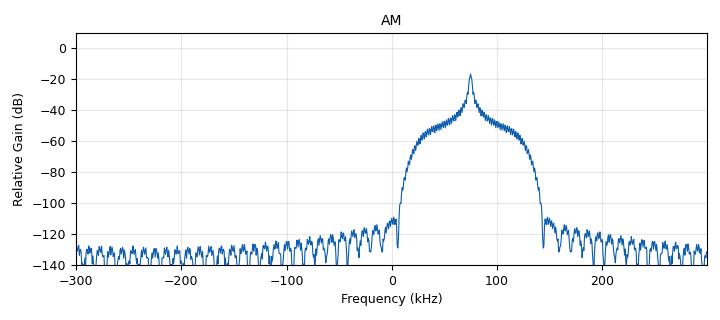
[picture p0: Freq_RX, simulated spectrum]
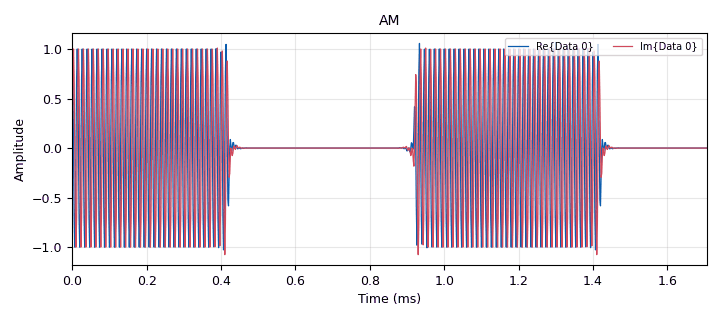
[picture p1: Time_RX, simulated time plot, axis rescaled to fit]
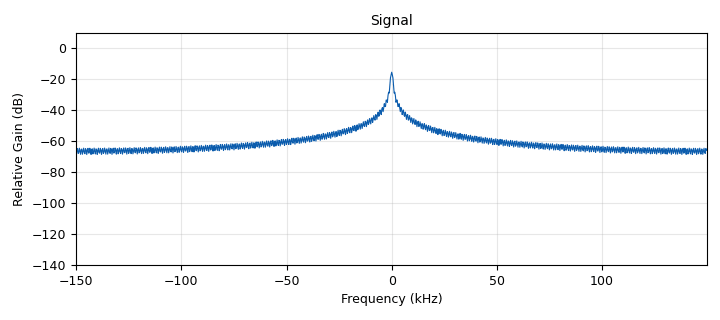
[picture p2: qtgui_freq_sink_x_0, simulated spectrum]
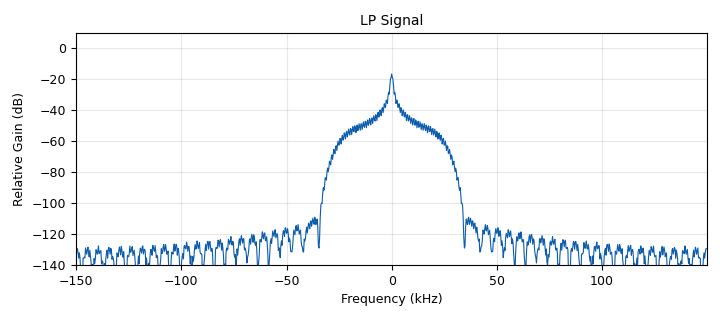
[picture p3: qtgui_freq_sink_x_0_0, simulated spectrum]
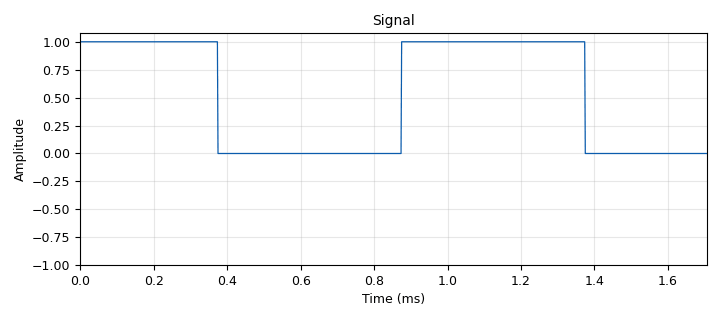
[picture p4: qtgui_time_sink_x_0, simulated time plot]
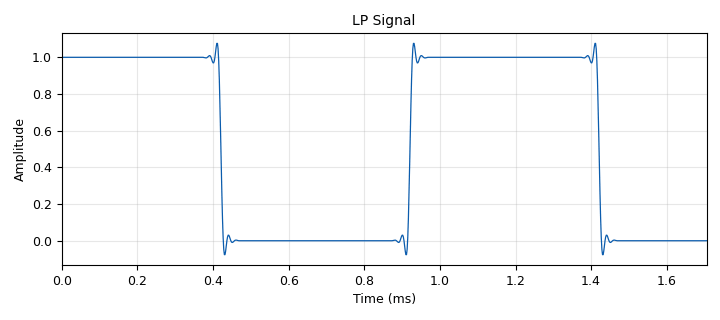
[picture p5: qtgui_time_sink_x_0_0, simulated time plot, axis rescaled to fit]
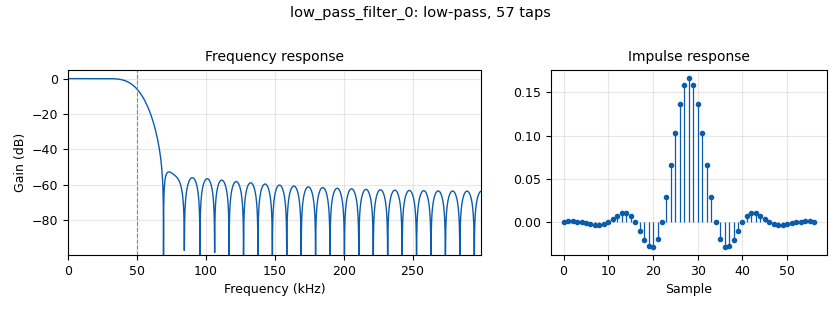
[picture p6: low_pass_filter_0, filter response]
<?xml version='1.0' encoding='utf-8'?>
<?grc format='1' created='3.7.10'?>
<flow_graph>
<block>
<key>options</key>
<param><key>id</key><value>top_block</value></param>
<param><key>category</key><value>Custom</value></param>
<param><key>generate_options</key><value>qt_gui</value></param>
</block>
<block>
<key>variable</key>
<param><key>id</key><value>USRP_samp_rate</value></param>
<param><key>value</key><value>600E3</value></param>
</block>
<block>
<key>variable_qtgui_range</key>
<param><key>id</key><value>fL</value></param>
<param><key>value</key><value>50E3</value></param>
<param><key>gui_hint</key><value>0,3,1,1</value></param>
<param><key>orient</key><value>Qt.Horizontal</value></param>
<param><key>start</key><value>1.5E3</value></param>
<param><key>step</key><value>1E3</value></param>
<param><key>stop</key><value>100E3</value></param>
</block>
<block>
<key>variable_qtgui_chooser</key>
<param><key>id</key><value>fc</value></param>
<param><key>value</key><value>3.625E9</value></param>
<param><key>gui_hint</key><value>0,1,1,1</value></param>
<param><key>label0</key><value>In Band</value></param>
<param><key>label1</key><value>Out of band, lower</value></param>
<param><key>label2</key><value>OUt of band, higher</value></param>
<param><key>label3</key><value>Way out</value></param>
<param><key>num_opts</key><value>4</value></param>
<param><key>option0</key><value>3.625E9</value></param>
<param><key>option1</key><value>3.45E9</value></param>
<param><key>option2</key><value>3.80E9</value></param>
<param><key>option3</key><value>3.49E9</value></param>
<param><key>type</key><value>real</value></param>
</block>
<block>
<key>variable</key>
<param><key>id</key><value>fc</value></param>
<param><key>_enabled</key><value>0</value></param>
<param><key>value</key><value>3.625E9</value></param>
</block>
<block>
<key>variable</key>
<param><key>id</key><value>fm</value></param>
<param><key>value</key><value>1000</value></param>
</block>
<block>
<key>variable</key>
<param><key>id</key><value>ft</value></param>
<param><key>value</key><value>75E3</value></param>
</block>
<block>
<key>variable_qtgui_range</key>
<param><key>id</key><value>gain</value></param>
<param><key>value</key><value>0</value></param>
<param><key>gui_hint</key><value>0,0,1,1</value></param>
<param><key>orient</key><value>Qt.Horizontal</value></param>
<param><key>start</key><value>0</value></param>
<param><key>step</key><value>1</value></param>
<param><key>stop</key><value>30</value></param>
</block>
<block>
<key>variable</key>
<param><key>id</key><value>samp_rate</value></param>
<param><key>value</key><value>600E3</value></param>
</block>
<block>
<key>variable_qtgui_chooser</key>
<param><key>id</key><value>sig</value></param>
<param><key>value</key><value>103</value></param>
<param><key>gui_hint</key><value>0,2,1,1</value></param>
<param><key>label0</key><value>Cosine</value></param>
<param><key>label1</key><value>Rectangle</value></param>
<param><key>num_opts</key><value>2</value></param>
<param><key>option0</key><value>102</value></param>
<param><key>option1</key><value>103</value></param>
<param><key>type</key><value>int</value></param>
</block>
<block>
<key>qtgui_freq_sink_x</key>
<param><key>id</key><value>Freq_RX</value></param>
<param><key>bw</key><value>samp_rate</value></param>
<param><key>fc</key><value>0</value></param>
<param><key>fftsize</key><value>1024</value></param>
<param><key>gui_hint</key><value>4,2,1,2</value></param>
<param><key>name</key><value>"AM"</value></param>
<param><key>showports</key><value>True</value></param>
<param><key>type</key><value>complex</value></param>
<param><key>wintype</key><value>firdes.WIN_BLACKMAN_hARRIS</value></param>
</block>
<block>
<key>qtgui_time_sink_x</key>
<param><key>id</key><value>Time_RX</value></param>
<param><key>gui_hint</key><value>4,0,1,2</value></param>
<param><key>color1</key><value>"blue"</value></param>
<param><key>label1</key><value></value></param>
<param><key>color2</key><value>"red"</value></param>
<param><key>label2</key><value></value></param>
<param><key>name</key><value>"AM"</value></param>
<param><key>size</key><value>1024</value></param>
<param><key>srate</key><value>samp_rate</value></param>
<param><key>type</key><value>complex</value></param>
</block>
<block>
<key>analog_sig_source_x</key>
<param><key>id</key><value>analog_sig_source_x_0_0</value></param>
<param><key>amp</key><value>1</value></param>
<param><key>freq</key><value>fm</value></param>
<param><key>offset</key><value>0</value></param>
<param><key>type</key><value>float</value></param>
<param><key>samp_rate</key><value>samp_rate</value></param>
<param><key>waveform</key><value>sig</value></param>
</block>
<block>
<key>analog_sig_source_x</key>
<param><key>id</key><value>analog_sig_source_x_1</value></param>
<param><key>amp</key><value>1</value></param>
<param><key>freq</key><value>ft</value></param>
<param><key>offset</key><value>0</value></param>
<param><key>type</key><value>complex</value></param>
<param><key>samp_rate</key><value>samp_rate</value></param>
<param><key>waveform</key><value>analog.GR_COS_WAVE</value></param>
</block>
<block>
<key>blocks_float_to_complex</key>
<param><key>id</key><value>blocks_float_to_complex_0</value></param>
</block>
<block>
<key>blocks_multiply_xx</key>
<param><key>id</key><value>blocks_multiply_xx_0_0</value></param>
<param><key>type</key><value>complex</value></param>
</block>
<block>
<key>low_pass_filter</key>
<param><key>id</key><value>low_pass_filter_0</value></param>
<param><key>cutoff_freq</key><value>fL</value></param>
<param><key>type</key><value>interp_fir_filter_fff</value></param>
<param><key>gain</key><value>1</value></param>
<param><key>interp</key><value>1</value></param>
<param><key>samp_rate</key><value>samp_rate</value></param>
<param><key>width</key><value>fL/2</value></param>
<param><key>win</key><value>firdes.WIN_HAMMING</value></param>
</block>
<block>
<key>qtgui_freq_sink_x</key>
<param><key>id</key><value>qtgui_freq_sink_x_0</value></param>
<param><key>bw</key><value>samp_rate/2</value></param>
<param><key>fc</key><value>0</value></param>
<param><key>fftsize</key><value>1024</value></param>
<param><key>gui_hint</key><value>1,2,1,2</value></param>
<param><key>name</key><value>"Signal"</value></param>
<param><key>showports</key><value>True</value></param>
<param><key>type</key><value>float</value></param>
<param><key>wintype</key><value>firdes.WIN_BLACKMAN_hARRIS</value></param>
</block>
<block>
<key>qtgui_freq_sink_x</key>
<param><key>id</key><value>qtgui_freq_sink_x_0_0</value></param>
<param><key>bw</key><value>samp_rate/2</value></param>
<param><key>fc</key><value>0</value></param>
<param><key>fftsize</key><value>1024</value></param>
<param><key>gui_hint</key><value>2,2,1,2</value></param>
<param><key>name</key><value>"LP Signal"</value></param>
<param><key>showports</key><value>True</value></param>
<param><key>type</key><value>float</value></param>
<param><key>wintype</key><value>firdes.WIN_BLACKMAN_hARRIS</value></param>
</block>
<block>
<key>qtgui_time_sink_x</key>
<param><key>id</key><value>qtgui_time_sink_x_0</value></param>
<param><key>gui_hint</key><value>1,0,1,2</value></param>
<param><key>color1</key><value>"blue"</value></param>
<param><key>label1</key><value></value></param>
<param><key>name</key><value>"Signal"</value></param>
<param><key>size</key><value>1024</value></param>
<param><key>srate</key><value>samp_rate</value></param>
<param><key>type</key><value>float</value></param>
</block>
<block>
<key>qtgui_time_sink_x</key>
<param><key>id</key><value>qtgui_time_sink_x_0_0</value></param>
<param><key>gui_hint</key><value>2,0,1,2</value></param>
<param><key>color1</key><value>"blue"</value></param>
<param><key>label1</key><value></value></param>
<param><key>name</key><value>"LP Signal"</value></param>
<param><key>size</key><value>1024</value></param>
<param><key>srate</key><value>samp_rate</value></param>
<param><key>type</key><value>float</value></param>
</block>
<block>
<key>uhd_usrp_sink</key>
<param><key>id</key><value>uhd_usrp_sink_0</value></param>
<param><key>ant0</key><value>TX/RX</value></param>
<param><key>center_freq0</key><value>fc</value></param>
<param><key>norm_gain0</key><value>False</value></param>
<param><key>gain0</key><value>gain</value></param>
<param><key>clock_rate</key><value>0.0</value></param>
<param><key>dev_args</key><value>""</value></param>
<param><key>type</key><value>fc32</value></param>
<param><key>samp_rate</key><value>USRP_samp_rate</value></param>
<param><key>hide_cmd_port</key><value>False</value></param>
<param><key>hide_lo_controls</key><value>False</value></param>
<param><key>sync</key><value></value></param>
<param><key>len_tag_name</key><value></value></param>
</block>
<connection><source_block_id>analog_sig_source_x_0_0</source_block_id><sink_block_id>low_pass_filter_0</sink_block_id><source_key>0</source_key><sink_key>0</sink_key></connection>
<connection><source_block_id>analog_sig_source_x_0_0</source_block_id><sink_block_id>qtgui_freq_sink_x_0</sink_block_id><source_key>0</source_key><sink_key>0</sink_key></connection>
<connection><source_block_id>analog_sig_source_x_0_0</source_block_id><sink_block_id>qtgui_time_sink_x_0</sink_block_id><source_key>0</source_key><sink_key>0</sink_key></connection>
<connection><source_block_id>analog_sig_source_x_1</source_block_id><sink_block_id>blocks_multiply_xx_0_0</sink_block_id><source_key>0</source_key><sink_key>1</sink_key></connection>
<connection><source_block_id>blocks_float_to_complex_0</source_block_id><sink_block_id>blocks_multiply_xx_0_0</sink_block_id><source_key>0</source_key><sink_key>0</sink_key></connection>
<connection><source_block_id>blocks_float_to_complex_0</source_block_id><sink_block_id>uhd_usrp_sink_0</sink_block_id><source_key>0</source_key><sink_key>0</sink_key></connection>
<connection><source_block_id>blocks_multiply_xx_0_0</source_block_id><sink_block_id>Freq_RX</sink_block_id><source_key>0</source_key><sink_key>0</sink_key></connection>
<connection><source_block_id>blocks_multiply_xx_0_0</source_block_id><sink_block_id>Time_RX</sink_block_id><source_key>0</source_key><sink_key>0</sink_key></connection>
<connection><source_block_id>low_pass_filter_0</source_block_id><sink_block_id>blocks_float_to_complex_0</sink_block_id><source_key>0</source_key><sink_key>0</sink_key></connection>
<connection><source_block_id>low_pass_filter_0</source_block_id><sink_block_id>qtgui_freq_sink_x_0_0</sink_block_id><source_key>0</source_key><sink_key>0</sink_key></connection>
<connection><source_block_id>low_pass_filter_0</source_block_id><sink_block_id>qtgui_time_sink_x_0_0</sink_block_id><source_key>0</source_key><sink_key>0</sink_key></connection>
</flow_graph>
